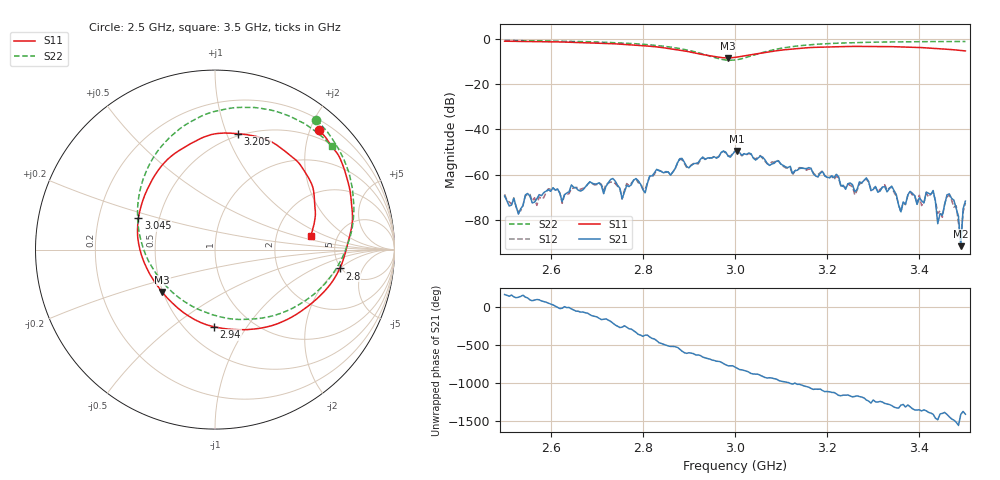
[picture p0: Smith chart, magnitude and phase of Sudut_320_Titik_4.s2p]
# Hz S RI R 50
! CMT, C1220, 16058040, 17.2.0/1
! Date: 15/08/2018 10:36:24
! Data: Format (Calibration Info)
! Freq  S11: Re/Im (F2)  S21: Re/Im (F2)  S12: Re/Im (F2)  S22: Re/Im (F2)
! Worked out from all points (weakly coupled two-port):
!   201 points, 2.5 GHz to 3.5 GHz, reference 50 ohm
!   highest |S21| = -49.61 dB at 3.005 GHz (marker M1); lowest = -91.6 dB at 3.49 GHz (marker M2)
!   lowest |S11| = -8.5 dB at 2.985 GHz (marker M3), VSWR 2.21, Z = 24.8 - j13.6 ohm
!   |S11| at or under -10 dB: nowhere
!   |S22| runs from -9.5 to -0.8 dB; largest |S21 - S12| = 0.00022
!   S11 on the Smith chart (normalised r, x): 2.5 GHz: 0.35, +2.15; 2.8 GHz: 4.87, -2.02; 2.94 GHz: 0.68, -0.72; 3.045 GHz: 0.38, +0.17; 3.205 GHz: 0.48, +1.10; 3.5 GHz: 3.17, +0.69
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2.5e9  0.5795 0.6663  -0.000318 0.000102  -0.000334 0.000152  0.5645 0.7228
2.53e9  0.6202 0.62  -8.01e-05 0.000107  -0.000115 9.93e-05  0.598 0.6877
2.55e9  0.6389 0.5913  -0.000179 0.000338  -0.000171 0.000328  0.6213 0.6623
2.67e9  0.7499 0.34  0.000176 -0.000424  0.000168 -0.000467  0.7377 0.4525
2.8e9  0.6952 -0.1048  0.000417 -0.000207  0.000443 -0.000198  0.7531 0.0725
2.835e9  0.6101 -0.2319  -0.0004 -0.00115  -0.000325 -0.0012  0.6999 -0.063
2.94e9  -0.00587 -0.4298  0.0017 0.00157  0.00161 0.00162  0.184 -0.3881
2.985e9  -0.2944 -0.2363  0.00153 -0.00205  0.00164 -0.00204  -0.169 -0.2904
3e9  -0.3623 -0.1385  0.00115 -0.00309  0.00102 -0.00312  -0.2699 -0.2057
3.005e9  -0.3802 -0.1036  0.000238 -0.0033  8.51e-05 -0.00318  -0.2986 -0.1723
3.045e9  -0.4272 0.174  -0.00199 -0.000639  -0.00208 -0.000746  -0.4285 0.135
3.17e9  -0.00359 0.6444  0.00104 -4.22e-05  0.00108 7.08e-05  -0.078 0.7424
3.205e9  0.1292 0.6455  0.000711 -0.000464  0.000642 -0.000543  0.051 0.781
3.335e9  0.4686 0.4808  -0.000456 0.00017  -0.000482 0.000151  0.4015 0.7488
3.36e9  0.5056 0.4253  -0.000131 7.19e-05  -0.000139 5.15e-05  0.4495 0.7267
3.38e9  0.532 0.3799  -0.000277 0.000321  -0.000268 0.000325  0.4871 0.7078
3.405e9  0.5497 0.3241  7.04e-05 0.000255  4.29e-05 0.000203  0.5267 0.6825
3.43e9  0.5551 0.2528  0.000375 0.000237  0.000376 0.00015  0.564 0.656
3.44e9  0.5574 0.2276  6.2e-05 -5.41e-05  0.000131 4.41e-05  0.5786 0.6435
3.465e9  0.5564 0.1689  0.000375 -8.2e-06  0.000344 8.42e-06  0.6107 0.6164
3.49e9  0.5418 0.1033  2.27e-05 1.31e-05  -6.83e-06 3.47e-05  0.6399 0.586
3.5e9  0.5331 0.0771  0.000219 0.000139  0.000198 0.000126  0.6512 0.5747
